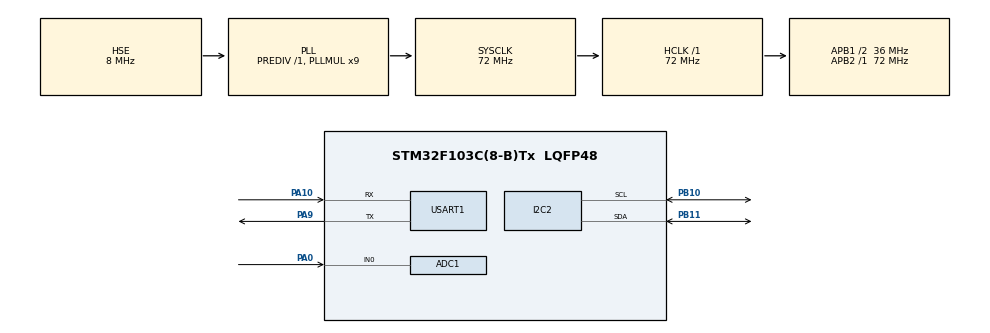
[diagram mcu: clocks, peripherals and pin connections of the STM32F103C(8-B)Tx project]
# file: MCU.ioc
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ADC1.Channel-0\#ChannelRegularConversion=ADC_CHANNEL_0
ADC1.NbrOfConversionFlag=1
ADC1.Rank-0\#ChannelRegularConversion=1
ADC1.SamplingTime-0\#ChannelRegularConversion=ADC_SAMPLETIME_239CYCLES_5
ADC1.master=1
Mcu.Family=STM32F1
Mcu.Name=STM32F103C(8-B)Tx
Mcu.Package=LQFP48
NVIC.PriorityGroup=NVIC_PRIORITYGROUP_4
PA0-WKUP.Signal=ADCx_IN0
PA10.Mode=Asynchronous
PA10.Signal=USART1_RX
PA13.Mode=Serial_Wire
PA13.Signal=SYS_JTMS-SWDIO
PA14.Mode=Serial_Wire
PA14.Signal=SYS_JTCK-SWCLK
PA9.Mode=Asynchronous
PA9.Signal=USART1_TX
PB10.Mode=I2C
PB10.Signal=I2C2_SCL
PB11.Mode=I2C
PB11.Signal=I2C2_SDA
PD0-OSC_IN.Mode=HSE-External-Oscillator
PD0-OSC_IN.Signal=RCC_OSC_IN
PD1-OSC_OUT.Mode=HSE-External-Oscillator
PD1-OSC_OUT.Signal=RCC_OSC_OUT
ProjectManager.HeapSize=0x200
ProjectManager.StackSize=0x400
ProjectManager.TargetToolchain=MDK-ARM V5.32
RCC.ADCPresc=RCC_ADCPCLK2_DIV6
RCC.AHBFreq_Value=72000000
RCC.APB1CLKDivider=RCC_HCLK_DIV2
RCC.APB1Freq_Value=36000000
RCC.APB1TimFreq_Value=72000000
RCC.APB2Freq_Value=72000000
RCC.APB2TimFreq_Value=72000000
RCC.HCLKFreq_Value=72000000
RCC.PLLMUL=RCC_PLL_MUL9
RCC.PLLSourceVirtual=RCC_PLLSOURCE_HSE
RCC.SYSCLKFreq_VALUE=72000000
RCC.SYSCLKSource=RCC_SYSCLKSOURCE_PLLCLK
RCC.USBFreq_Value=72000000
SH.ADCx_IN0.0=ADC1_IN0,IN0
TIM1.Prescaler=71
USART1.VirtualMode=VM_ASYNC
VP_TIM1_VS_ClockSourceINT.Mode=Internal
board=custom

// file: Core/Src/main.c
/* USER CODE BEGIN Header */
/**
  ******************************************************************************
  * @file           : main.c
  * @brief          : Main program body
  ******************************************************************************
  * @attention
  *
  * <h2><center>&copy; Copyright (c) 2022 STMicroelectronics.
  * All rights reserved.</center></h2>
  *
  * This software component is licensed by ST under BSD 3-Clause license,
  * the "License"; You may not use this file except in compliance with the
  * License. You may obtain a copy of the License at:
  *                        opensource.org/licenses/BSD-3-Clause
  *
  ******************************************************************************
  */
/* USER CODE END Header */
#include "main.h"

/* USER CODE BEGIN Includes */
#include <stdio.h>
#include <stdlib.h>
#include <string.h>
#include "lcd_i2c.h"
#include "mq135.h"
#include "dht.h"
/* USER CODE END Includes */

ADC_HandleTypeDef hadc1;

I2C_HandleTypeDef hi2c2;

TIM_HandleTypeDef htim1;

UART_HandleTypeDef huart1;

/* USER CODE BEGIN PV */
LCD_HandleTypeDef lcd = {&hi2c2,0x4E};				//LCD I2C Handle
uint16_t ppm;							//PPM value
DHT_Value value;						//Temp & Humid
char first_line[16];
char second_line[16];
char uart_string[20];
/* USER CODE END PV */

void SystemClock_Config(void);
static void MX_GPIO_Init(void);
static void MX_TIM1_Init(void);
static void MX_ADC1_Init(void);
static void MX_USART1_UART_Init(void);
static void MX_I2C2_Init(void);

/* USER CODE BEGIN 0 */
void update_data()
{
  static uint32_t update_tick = 0;

  if(HAL_GetTick() - update_tick >= 3000)
  {
    DHT_ReadData(&value);
    if(value.check)
    {
      MQ135_Read(&hadc1,value.temp,value.humid,&ppm);
      sprintf(first_line,"%.1f%cC   %.1f%%",value.temp,0xDF,value.humid);
      sprintf(second_line,"CO2: %d ppm",ppm);
    }
    else
      sprintf(first_line,"DHT Read Fail");
    LCD_I2C_Send_Cmd(CLEAR_DISPLAY);
    LCD_I2C_Send_Cmd(RETURN_HOME);
    LCD_I2C_Set_Cursor(1);
    LCD_I2C_Send_String(first_line);
    LCD_I2C_Set_Cursor(17);
    LCD_I2C_Send_String(second_line);
    update_tick = HAL_GetTick();
  }
}

void transmit_data()
{
  static uint32_t transmit_tick = 0;

  if(HAL_GetTick() - transmit_tick >= 4000)
  {
    sprintf(uart_string,"%.1f-%.1f-%d",value.temp,value.humid,ppm);
    HAL_UART_Transmit(&huart1,(uint8_t *)uart_string,strlen(uart_string),1000);
    transmit_tick = HAL_GetTick();
  }
}
/* USER CODE END 0 */

int main(void)
{

  /* MCU Configuration--------------------------------------------------------*/

  /* Reset of all peripherals, Initializes the Flash interface and the Systick. */
  HAL_Init();

  /* Configure the system clock */
  SystemClock_Config();

  /* Initialize all configured peripherals */
  MX_GPIO_Init();
  MX_TIM1_Init();
  MX_ADC1_Init();
  MX_USART1_UART_Init();
  MX_I2C2_Init();
  /* USER CODE BEGIN 2 */
  DHT_Init(DHT22,GPIOB,GPIO_PIN_8,htim1);
  LCD_I2C_Init(&lcd);
  /* USER CODE END 2 */

  /* Infinite loop */
  while (1)
  {

    /* USER CODE BEGIN 3 */
    update_data();
    transmit_data();
  }
  /* USER CODE END 3 */
}

void SystemClock_Config(void)
{
  RCC_OscInitTypeDef RCC_OscInitStruct = {0};
  RCC_ClkInitTypeDef RCC_ClkInitStruct = {0};
  RCC_PeriphCLKInitTypeDef PeriphClkInit = {0};

  /** Initializes the RCC Oscillators according to the specified parameters
  * in the RCC_OscInitTypeDef structure.
  */
  RCC_OscInitStruct.OscillatorType = RCC_OSCILLATORTYPE_HSE;
  RCC_OscInitStruct.HSEState = RCC_HSE_ON;
  RCC_OscInitStruct.HSEPredivValue = RCC_HSE_PREDIV_DIV1;
  RCC_OscInitStruct.HSIState = RCC_HSI_ON;
  RCC_OscInitStruct.PLL.PLLState = RCC_PLL_ON;
  RCC_OscInitStruct.PLL.PLLSource = RCC_PLLSOURCE_HSE;
  RCC_OscInitStruct.PLL.PLLMUL = RCC_PLL_MUL9;
  if (HAL_RCC_OscConfig(&RCC_OscInitStruct) != HAL_OK)
  {
    Error_Handler();
  }
  /** Initializes the CPU, AHB and APB buses clocks
  */
  RCC_ClkInitStruct.ClockType = RCC_CLOCKTYPE_HCLK|RCC_CLOCKTYPE_SYSCLK
                              |RCC_CLOCKTYPE_PCLK1|RCC_CLOCKTYPE_PCLK2;
  RCC_ClkInitStruct.SYSCLKSource = RCC_SYSCLKSOURCE_PLLCLK;
  RCC_ClkInitStruct.AHBCLKDivider = RCC_SYSCLK_DIV1;
  RCC_ClkInitStruct.APB1CLKDivider = RCC_HCLK_DIV2;
  RCC_ClkInitStruct.APB2CLKDivider = RCC_HCLK_DIV1;

  if (HAL_RCC_ClockConfig(&RCC_ClkInitStruct, FLASH_LATENCY_2) != HAL_OK)
  {
    Error_Handler();
  }
  PeriphClkInit.PeriphClockSelection = RCC_PERIPHCLK_ADC;
  PeriphClkInit.AdcClockSelection = RCC_ADCPCLK2_DIV6;
  if (HAL_RCCEx_PeriphCLKConfig(&PeriphClkInit) != HAL_OK)
  {
    Error_Handler();
  }
}

static void MX_ADC1_Init(void)
{

  ADC_ChannelConfTypeDef sConfig = {0};

  /** Common config
  */
  hadc1.Instance = ADC1;
  hadc1.Init.ScanConvMode = ADC_SCAN_DISABLE;
  hadc1.Init.ContinuousConvMode = DISABLE;
  hadc1.Init.DiscontinuousConvMode = DISABLE;
  hadc1.Init.ExternalTrigConv = ADC_SOFTWARE_START;
  hadc1.Init.DataAlign = ADC_DATAALIGN_RIGHT;
  hadc1.Init.NbrOfConversion = 1;
  if (HAL_ADC_Init(&hadc1) != HAL_OK)
  {
    Error_Handler();
  }
  /** Configure Regular Channel
  */
  sConfig.Channel = ADC_CHANNEL_0;
  sConfig.Rank = ADC_REGULAR_RANK_1;
  sConfig.SamplingTime = ADC_SAMPLETIME_239CYCLES_5;
  if (HAL_ADC_ConfigChannel(&hadc1, &sConfig) != HAL_OK)
  {
    Error_Handler();
  }

}

static void MX_I2C2_Init(void)
{

  hi2c2.Instance = I2C2;
  hi2c2.Init.ClockSpeed = 100000;
  hi2c2.Init.DutyCycle = I2C_DUTYCYCLE_2;
  hi2c2.Init.OwnAddress1 = 0;
  hi2c2.Init.AddressingMode = I2C_ADDRESSINGMODE_7BIT;
  hi2c2.Init.DualAddressMode = I2C_DUALADDRESS_DISABLE;
  hi2c2.Init.OwnAddress2 = 0;
  hi2c2.Init.GeneralCallMode = I2C_GENERALCALL_DISABLE;
  hi2c2.Init.NoStretchMode = I2C_NOSTRETCH_DISABLE;
  if (HAL_I2C_Init(&hi2c2) != HAL_OK)
  {
    Error_Handler();
  }

}

static void MX_TIM1_Init(void)
{

  TIM_ClockConfigTypeDef sClockSourceConfig = {0};
  TIM_MasterConfigTypeDef sMasterConfig = {0};

  htim1.Instance = TIM1;
  htim1.Init.Prescaler = 71;
  htim1.Init.CounterMode = TIM_COUNTERMODE_UP;
  htim1.Init.Period = 65535;
  htim1.Init.ClockDivision = TIM_CLOCKDIVISION_DIV1;
  htim1.Init.RepetitionCounter = 0;
  htim1.Init.AutoReloadPreload = TIM_AUTORELOAD_PRELOAD_DISABLE;
  if (HAL_TIM_Base_Init(&htim1) != HAL_OK)
  {
    Error_Handler();
  }
  sClockSourceConfig.ClockSource = TIM_CLOCKSOURCE_INTERNAL;
  if (HAL_TIM_ConfigClockSource(&htim1, &sClockSourceConfig) != HAL_OK)
  {
    Error_Handler();
  }
  sMasterConfig.MasterOutputTrigger = TIM_TRGO_RESET;
  sMasterConfig.MasterSlaveMode = TIM_MASTERSLAVEMODE_DISABLE;
  if (HAL_TIMEx_MasterConfigSynchronization(&htim1, &sMasterConfig) != HAL_OK)
  {
    Error_Handler();
  }

}

static void MX_USART1_UART_Init(void)
{

  huart1.Instance = USART1;
  huart1.Init.BaudRate = 115200;
  huart1.Init.WordLength = UART_WORDLENGTH_8B;
  huart1.Init.StopBits = UART_STOPBITS_1;
  huart1.Init.Parity = UART_PARITY_NONE;
  huart1.Init.Mode = UART_MODE_TX_RX;
  huart1.Init.HwFlowCtl = UART_HWCONTROL_NONE;
  huart1.Init.OverSampling = UART_OVERSAMPLING_16;
  if (HAL_UART_Init(&huart1) != HAL_OK)
  {
    Error_Handler();
  }

}

static void MX_GPIO_Init(void)
{

  /* GPIO Ports Clock Enable */
  __HAL_RCC_GPIOD_CLK_ENABLE();
  __HAL_RCC_GPIOA_CLK_ENABLE();
  __HAL_RCC_GPIOB_CLK_ENABLE();

}

void Error_Handler(void)
{
  __disable_irq();
  while (1)
  {
  }
}

/************************ (C) COPYRIGHT STMicroelectronics *****END OF FILE****/
